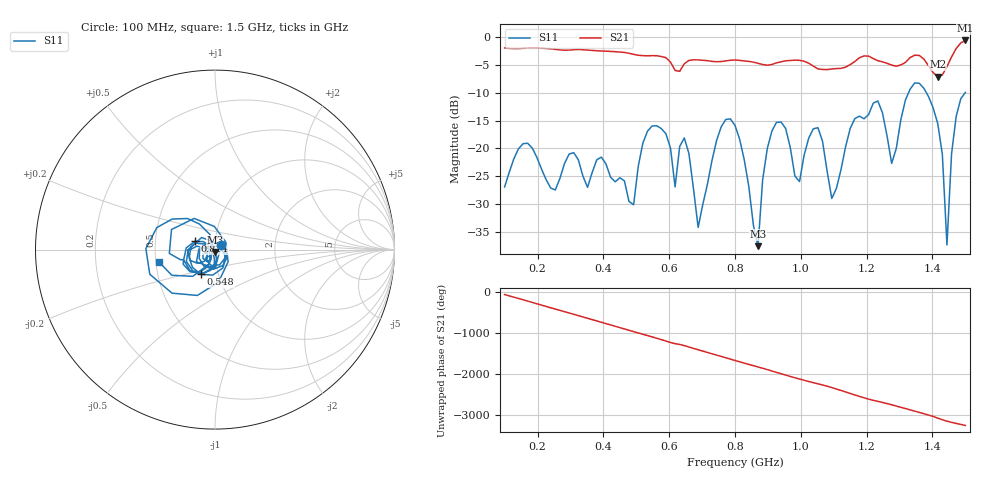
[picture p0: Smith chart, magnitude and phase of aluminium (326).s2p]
! NanoVNA-App
! Date: 2025-09-25 14:57:49
! Start: 100MHz Stop: 1,5GHz Points: 101
! S-Parameter data: F S11 S21 S12 S22
# Hz S RI R 50
!  Frequency  S11_Real  S11_Imag  S21_Real  S21_Imag  S12_Real  S12_Imag  S22_Real  S22_Imag
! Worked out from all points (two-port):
!   101 points, 100 MHz to 1.5 GHz, reference 50 ohm
!   highest |S21| = -0.57 dB at 1.5 GHz (marker M1); lowest = -7.1 dB at 1.416 GHz (marker M2)
!   |S21| within 3 dB of the highest: start of sweep to 583.4 MHz; 1.458 GHz to end of sweep (the widest 2 of 4)
!   lowest |S11| = -37.6 dB at 870 MHz (marker M3), VSWR 1.03, Z = 50 - j1.31 ohm
!   |S11| at or under -10 dB: start of sweep to 1.327 GHz; 1.382 GHz to 1.499 GHz (117.5 MHz wide, 8.16 % of centre)
!   S12 and S22 are empty: the file has one direction only
!   S11 on the Smith chart (normalised r, x): 100 MHz: 1.07, +0.06; 548 MHz: 0.82, -0.23; 814 MHz: 0.80, +0.07; 1.5 GHz: 0.52, -0.08
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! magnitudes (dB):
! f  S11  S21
! 100 MHz  -27.0  -1.9
! 338 MHz  -25.0  -2.2
! 492 MHz  -30.2  -3.1
! 548 MHz  -16.0  -3.3
! 576 MHz  -16.4  -3.4
! 618 MHz  -26.9  -6.0
! 646 MHz  -18.1  -4.8
! 688 MHz  -34.3  -4.1
! 800 MHz  -15.9  -4.1
! 814 MHz  -18.3  -4.2
! 870 MHz  -37.6  -4.7
! 912 MHz  -16.9  -4.9
! 996 MHz  -26.0  -4.1
! 1.038 GHz  -16.5  -5.2
! 1.094 GHz  -29.0  -5.7
! 1.22 GHz  -11.9  -3.8
! 1.276 GHz  -22.7  -5.0
! 1.346 GHz  -8.2  -3.2
! 1.416 GHz  -15.5  -7.1
! 1.444 GHz  -37.4  -5.3
! 1.458 GHz  -21.0  -3.5
! 1.5 GHz  -9.9  -0.6
